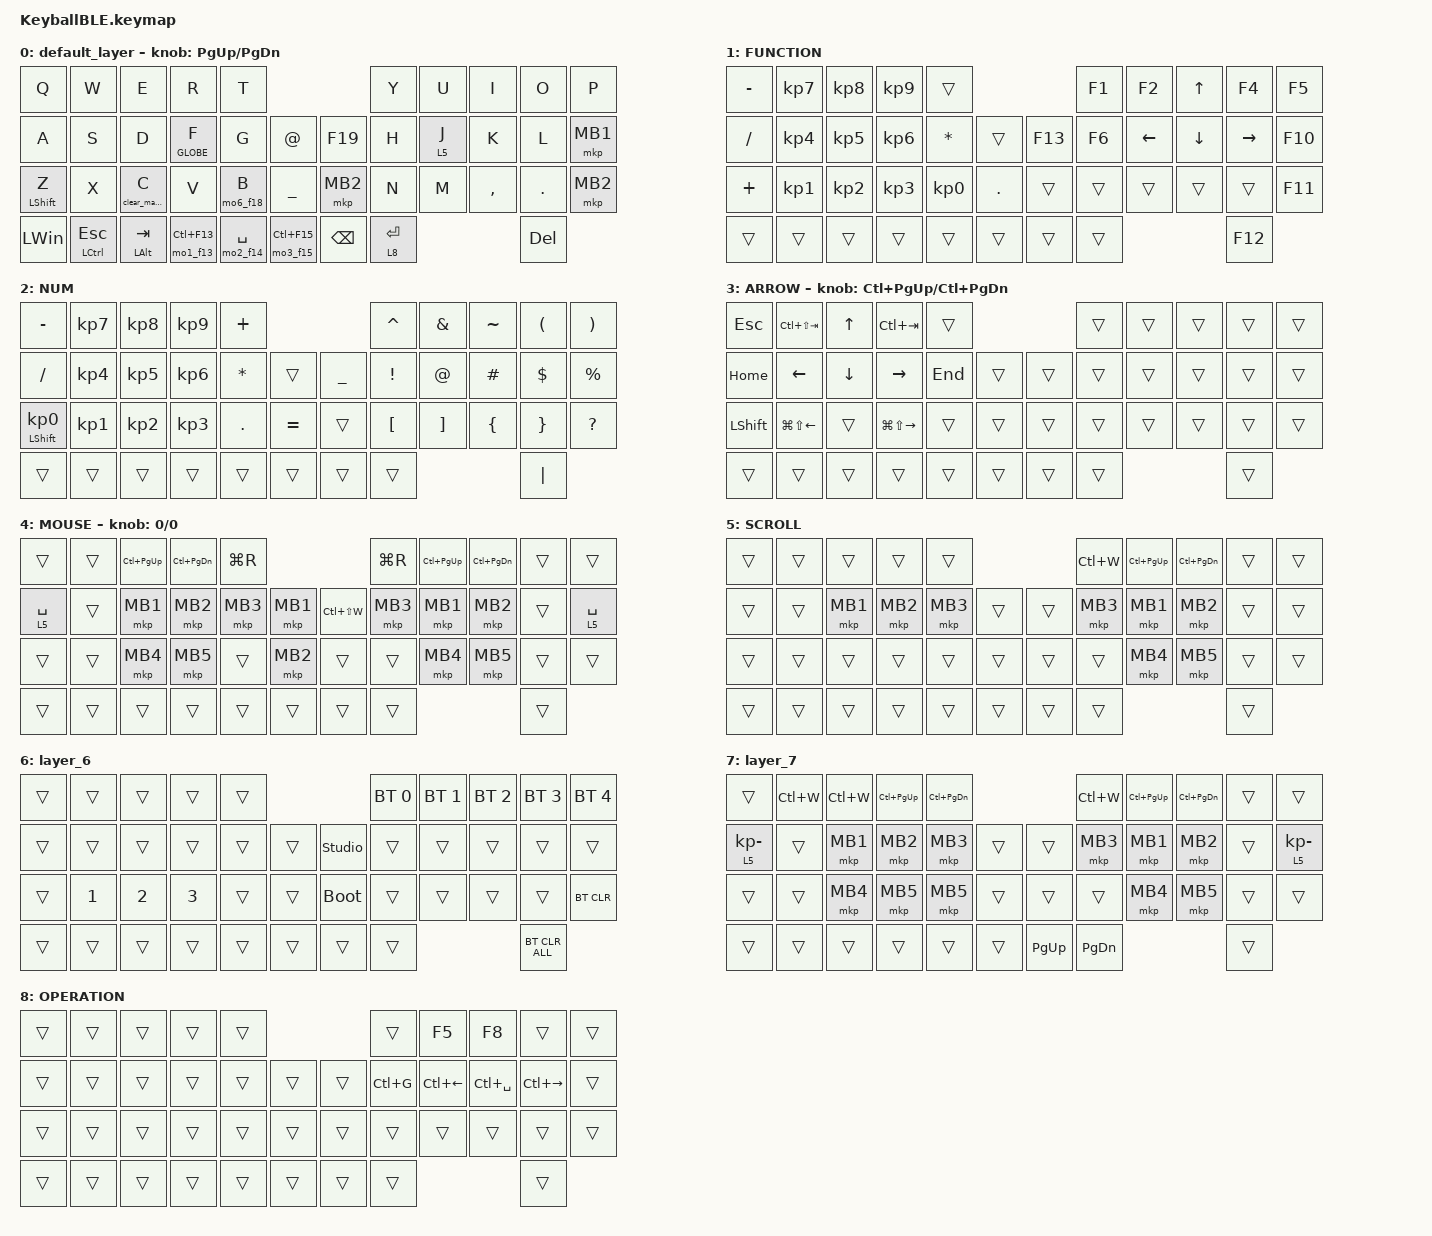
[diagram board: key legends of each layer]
#include <behaviors.dtsi>
#include <dt-bindings/zmk/bt.h>
#include <dt-bindings/zmk/keys.h>
#include <dt-bindings/zmk/pointing.h>

#define ZMK_MOUSE_DEFAULT_SCRL_VAL 25
#define MOUSE 4
#define SCROLL 5
#define NUM 6

&mt {
    flavor = "balanced";
    quick-tap-ms = <0>;
};

/ {
    combos {
        compatible = "zmk,combos";

        // ドラッグ: J+K 同時押し → MB1ホールド（トラックボール移動でドラッグ）
        gesture_drag {
            bindings = <&mkp MB1>;
            key-positions = <18 19>;
            timeout-ms = <300>;
            slow-release;
        };

    };

    macros {
        to_layer_0: to_layer_0 {
            compatible = "zmk,behavior-macro-one-param";
            #binding-cells = <1>;
            bindings = <&to 0 &macro_param_1to1 &kp MACRO_PLACEHOLDER>;
            label = "TO_LAYER_0";
        };

        clear_macro: clear_macro {
            compatible = "zmk,behavior-macro-one-param";
            #binding-cells = <1>;
            wait-ms = <30>;
            tap-ms = <30>;
            bindings = <&kp SLASH &kp C &kp L &kp E &kp A &kp R &kp ENTER>;
            label = "CLEAR_MACRO";
        };

        // レイヤー自動切替マクロ: press時にFキーtap→mo hold、release時にmo解除→F20 tap
        mo1_f13: mo1_f13 {
            compatible = "zmk,behavior-macro-one-param";
            #binding-cells = <1>;
            bindings = <&macro_tap &kp F13>,
                       <&macro_press &mo 1>,
                       <&macro_pause_for_release>,
                       <&macro_release &mo 1>,
                       <&macro_tap &kp F20>;
        };

        mo2_f14: mo2_f14 {
            compatible = "zmk,behavior-macro-one-param";
            #binding-cells = <1>;
            bindings = <&macro_tap &kp F14>,
                       <&macro_press &mo 2>,
                       <&macro_pause_for_release>,
                       <&macro_release &mo 2>,
                       <&macro_tap &kp F20>;
        };

        mo3_f15: mo3_f15 {
            compatible = "zmk,behavior-macro-one-param";
            #binding-cells = <1>;
            bindings = <&macro_tap &kp F15>,
                       <&macro_press &mo 3>,
                       <&macro_pause_for_release>,
                       <&macro_release &mo 3>,
                       <&macro_tap &kp F20>;
        };

        mo4_f16: mo4_f16 {
            compatible = "zmk,behavior-macro-one-param";
            #binding-cells = <1>;
            bindings = <&macro_tap &kp F16>,
                       <&macro_press &mo 4>,
                       <&macro_pause_for_release>,
                       <&macro_release &mo 4>,
                       <&macro_tap &kp F20>;
        };

        mo6_f18: mo6_f18 {
            compatible = "zmk,behavior-macro-one-param";
            #binding-cells = <1>;
            bindings = <&macro_tap &kp F18>,
                       <&macro_press &mo 6>,
                       <&macro_pause_for_release>,
                       <&macro_release &mo 6>,
                       <&macro_tap &kp F20>;
        };
    };

    behaviors {
        lt_to_layer_0: lt_to_layer_0 {
            compatible = "zmk,behavior-hold-tap";
            label = "LAYER_TAP_TO_0";
            bindings = <&mo>, <&to_layer_0>;

            #binding-cells = <2>;
            tapping-term-ms = <200>;
        };

        ht_hp: ht_hp {
            compatible = "zmk,behavior-hold-tap";
            label = "HT_HOLD_PREFERRED";
            bindings = <&kp>, <&kp>;

            #binding-cells = <2>;
            tapping-term-ms = <300>;
            flavor = "hold-preferred";
        };

        ht_mkp_kp: ht_mkp_kp {
            compatible = "zmk,behavior-hold-tap";
            label = "HT_MKP_KP";
            bindings = <&mkp>, <&kp>;

            #binding-cells = <2>;
            tapping-term-ms = <200>;
            flavor = "balanced";
        };

        ht_clear: ht_clear {
            compatible = "zmk,behavior-hold-tap";
            label = "HT_CLEAR";
            bindings = <&clear_macro>, <&kp>;

            #binding-cells = <2>;
            tapping-term-ms = <300>;
            flavor = "hold-preferred";
        };

        rotate: rotate {
            compatible = "zmk,behavior-sensor-rotate";
            label = "ROTATE";
            #sensor-binding-cells = <0>;
            bindings = <&msc SCRL_UP>, <&msc SCRL_DOWN>;

            tap-ms = <20>;
        };

        // レイヤー自動切替 hold-tap: holdでマクロ(mo+Fキー)、tapでキーコード
        lt_f13: lt_f13 {
            compatible = "zmk,behavior-hold-tap";
            label = "LT_F13";
            bindings = <&mo1_f13>, <&kp>;

            #binding-cells = <2>;
            tapping-term-ms = <200>;
            flavor = "balanced";
        };

        lt_f14: lt_f14 {
            compatible = "zmk,behavior-hold-tap";
            label = "LT_F14";
            bindings = <&mo2_f14>, <&kp>;

            #binding-cells = <2>;
            tapping-term-ms = <200>;
            flavor = "balanced";
        };

        lt_f15: lt_f15 {
            compatible = "zmk,behavior-hold-tap";
            label = "LT_F15";
            bindings = <&mo3_f15>, <&kp>;

            #binding-cells = <2>;
            tapping-term-ms = <200>;
            flavor = "balanced";
        };

        lt_f16: lt_f16 {
            compatible = "zmk,behavior-hold-tap";
            label = "LT_F16";
            bindings = <&mo4_f16>, <&kp>;

            #binding-cells = <2>;
            tapping-term-ms = <200>;
            flavor = "balanced";
        };

        lt_f18: lt_f18 {
            compatible = "zmk,behavior-hold-tap";
            label = "LT_F18";
            bindings = <&mo6_f18>, <&kp>;

            #binding-cells = <2>;
            tapping-term-ms = <200>;
            flavor = "balanced";
        };

        lt_bal: lt_bal {
            compatible = "zmk,behavior-hold-tap";
            label = "LT_BALANCED";
            bindings = <&mo>, <&kp>;

            #binding-cells = <2>;
            tapping-term-ms = <200>;
            flavor = "balanced";
        };

        // マクロなし hold-preferred: かな長押し→Layer3 診断用
        lt_hp: lt_hp {
            compatible = "zmk,behavior-hold-tap";
            label = "LT_HOLD_PREFERRED";
            bindings = <&mo>, <&kp>;

            #binding-cells = <2>;
            tapping-term-ms = <300>;
            flavor = "hold-preferred";
        };
    };

    keymap {
        compatible = "zmk,keymap";

        default_layer {
            bindings = <
&kp Q             &kp W         &kp E         &kp R                        &kp T                                                          &kp Y        &kp U  &kp I      &kp O       &kp P
&kp A             &kp S         &kp D         &ht_hp GLOBE F                  &kp G        &kp AT                             &kp F19        &kp H        &lt 5 J  &kp K      &kp L       &mkp MB1
&mt LEFT_SHIFT Z  &kp X         &ht_clear 0 C  &kp V                        &lt_f18 0 B  &kp UNDERSCORE                     &mkp MB2       &kp N        &kp M  &kp COMMA  &kp PERIOD  &mkp MB2
&kp LEFT_WIN      &mt LCTRL ESC  &mt LEFT_ALT TAB  &lt_f13 0 LC(F13)       &lt_f14 0 SPACE  &lt_f15 0 LC(F15)            &kp BACKSPACE  &lt 8 ENTER                            &kp DEL
            >;

            sensor-bindings = <&inc_dec_kp PAGE_UP PAGE_DOWN>;
        };

        FUNCTION {
            bindings = <
&kp MINUS  &kp KP_N7  &kp KP_N8  &kp KP_N9  &trans                          &kp F1  &kp F2    &kp UP     &kp F4  &kp F5
&kp SLASH  &kp KP_N4  &kp KP_N5  &kp KP_N6  &kp ASTERISK  &trans   &kp F13  &kp F6    &kp LEFT   &kp DOWN   &kp RIGHT  &kp F10
&kp PLUS   &kp KP_N1  &kp KP_N2  &kp KP_N3  &kp KP_N0     &kp DOT  &trans   &trans    &trans     &trans     &trans     &kp F11
&trans     &trans     &trans     &trans     &trans        &trans   &trans   &trans                            &kp F12
            >;
        };

        NUM {
            bindings = <
&kp MINUS                   &kp KP_NUMBER_7  &kp KP_NUMBER_8  &kp KP_NUMBER_9  &kp PLUS                                                   &kp CARET         &kp AMPERSAND      &kp TILDE       &kp LEFT_PARENTHESIS  &kp RIGHT_PARENTHESIS
&kp SLASH                   &kp KP_NUMBER_4  &kp KP_NUMBER_5  &kp KP_NUMBER_6  &kp ASTERISK  &trans                       &kp UNDERSCORE  &kp EXCLAMATION   &kp AT_SIGN        &kp HASH        &kp DOLLAR            &kp PERCENT
&mt LEFT_SHIFT KP_NUMBER_0  &kp KP_NUMBER_1  &kp KP_NUMBER_2  &kp KP_NUMBER_3  &kp PERIOD    &kp EQUAL                    &trans          &kp LEFT_BRACKET  &kp RIGHT_BRACKET  &kp LEFT_BRACE  &kp RIGHT_BRACE       &kp QUESTION
&trans                      &trans           &trans           &trans           &trans        &trans                       &trans          &trans                                                                     &kp PIPE
            >;
        };

        ARROW {
            bindings = <
&kp ESCAPE      &kp LC(LS(TAB))         &kp UP_ARROW    &kp LC(TAB)              &trans                       &trans  &trans  &trans  &trans  &trans
&kp HOME        &kp LEFT_ARROW          &kp DOWN_ARROW  &kp RIGHT_ARROW          &kp END  &trans      &trans  &trans  &trans  &trans  &trans  &trans
&kp LEFT_SHIFT  &kp LG(LS(LEFT_ARROW))  &trans          &kp LG(LS(RIGHT_ARROW))  &trans   &trans      &trans  &trans  &trans  &trans  &trans  &trans
&trans          &trans                  &trans          &trans                   &trans   &trans      &trans  &trans                          &trans
            >;

            sensor-bindings = <&inc_dec_kp LC(PAGE_UP) LC(PAGE_DOWN)>;
        };

        MOUSE {
            bindings = <
&trans       &trans  &kp LC(PAGE_UP)  &kp LC(PAGE_DOWN)  &kp LG(R)                               &kp LG(R)  &kp LC(PAGE_UP)  &kp LC(PAGE_DOWN)  &trans  &trans
&lt 5 SPACE  &trans  &mkp MB1         &mkp MB2           &mkp MB3   &mkp MB1      &kp LC(LS(W))  &mkp MB3   &mkp MB1         &mkp MB2           &trans  &lt 5 SPACE
&trans       &trans  &mkp MB4         &mkp MB5           &trans     &mkp MB2      &trans         &trans     &mkp MB4         &mkp MB5           &trans  &trans
&trans       &trans  &trans           &trans             &trans     &trans        &trans         &trans                                                 &trans
            >;

            sensor-bindings = <&inc_dec_kp 0 0>;
        };

        SCROLL {
            bindings = <
&trans  &trans  &trans    &trans    &trans                        &kp LC(W)  &kp LC(PAGE_UP)  &kp LC(PAGE_DOWN)  &trans  &trans
&trans  &trans  &mkp MB1  &mkp MB2  &mkp MB3  &trans      &trans  &mkp MB3   &mkp MB1         &mkp MB2           &trans  &trans
&trans  &trans  &trans    &trans    &trans    &trans      &trans  &trans     &mkp MB4         &mkp MB5           &trans  &trans
&trans  &trans  &trans    &trans    &trans    &trans      &trans  &trans                                                 &trans
            >;
        };

        layer_6 {
            bindings = <
&trans  &trans        &trans        &trans        &trans                              &bt BT_SEL 0  &bt BT_SEL 1  &bt BT_SEL 2  &bt BT_SEL 3  &bt BT_SEL 4
&trans  &trans        &trans        &trans        &trans  &trans      &studio_unlock  &trans        &trans        &trans        &trans        &trans
&trans  &kp NUMBER_1  &kp NUMBER_2  &kp NUMBER_3  &trans  &trans      &bootloader     &trans        &trans        &trans        &trans        &bt BT_CLR
&trans  &trans        &trans        &trans        &trans  &trans      &trans          &trans                                                  &bt BT_CLR_ALL
            >;
        };

        layer_7 {
            bindings = <
&trans                     &kp LC(W)  &kp LC(W)  &kp LC(PAGE_UP)  &kp LC(PAGE_DOWN)                           &kp LC(W)      &kp LC(PAGE_UP)  &kp LC(PAGE_DOWN)  &trans  &trans
&lt_to_layer_0 5 KP_MINUS  &trans     &mkp MB1   &mkp MB2         &mkp MB3           &trans      &trans       &mkp MB3       &mkp MB1         &mkp MB2           &trans  &lt_to_layer_0 5 KP_MINUS
&trans                     &trans     &mkp MB4   &mkp MB5         &mkp MB5           &trans      &trans       &trans         &mkp MB4         &mkp MB5           &trans  &trans
&trans                     &trans     &trans     &trans           &trans             &trans      &kp PAGE_UP  &kp PAGE_DOWN                                              &trans
            >;
        };

        // Layer 8: 操作モード（Enter長押しで遷移）
        // デスクトップ切替 + VBE開発ショートカット（Mac/Windows共通）
        OPERATION {
            bindings = <
&trans  &trans  &trans  &trans  &trans                      &trans        &kp F5            &kp F8          &trans             &trans
&trans  &trans  &trans  &trans  &trans  &trans      &trans  &kp LC(G)     &kp LC(LEFT)      &kp LC(SPACE)   &kp LC(RIGHT)      &trans
&trans  &trans  &trans  &trans  &trans  &trans      &trans  &trans        &trans            &trans          &trans             &trans
&trans  &trans  &trans  &trans  &trans  &trans      &trans  &trans                                                            &trans
            >;
        };
    };
};
